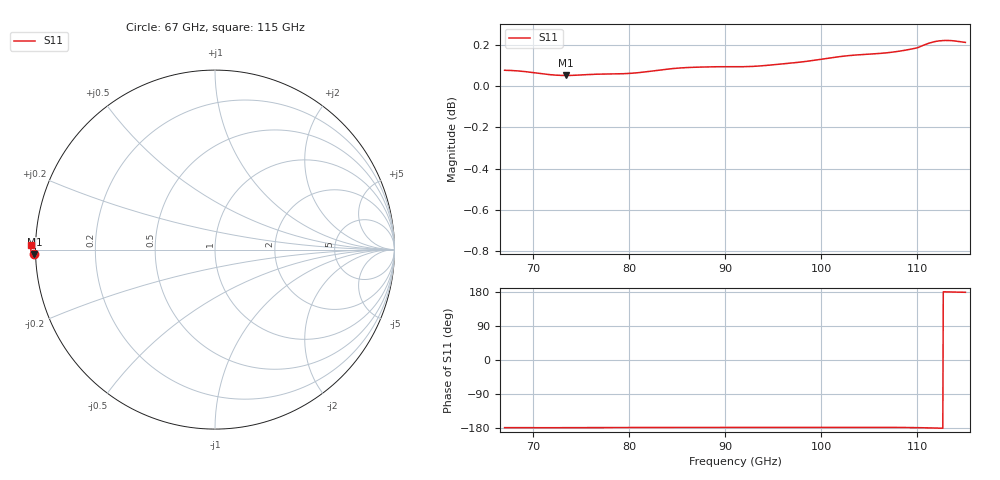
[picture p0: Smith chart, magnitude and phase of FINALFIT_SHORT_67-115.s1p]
! Generated by Phase I extraction
# Hz S RI R 50
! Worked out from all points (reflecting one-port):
!   1001 points, 67 GHz to 115 GHz, reference 50 ohm
!   lowest |S11| = 0.1 dB at 73.38 GHz (marker M1)
!   phase of S11 starts at -178 deg and turns -3 deg over the sweep
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6.7e10  -1.009 -0.0272
6.8536e10  -1.008 -0.0247
6.988e10  -1.007 -0.0236
7.1368e10  -1.006 -0.0234
7.3e10  -1.006 -0.0241
7.3384e10  -1.006 -0.0244
7.5784e10  -1.006 -0.0268
7.9e10  -1.007 -0.0312
8.1496e10  -1.007 -0.0339
8.5e10  -1.01 -0.0354
8.7784e10  -1.01 -0.0365
9.1e10  -1.01 -0.0373
9.3448e10  -1.011 -0.039
9.7e10  -1.012 -0.0414
1.00552e11  -1.015 -0.0433
1.03e11  -1.016 -0.0439
1.04872e11  -1.017 -0.0433
1.0636e11  -1.018 -0.0415
1.07704e11  -1.019 -0.038
1.09e11  -1.02 -0.0327
1.0972e11  -1.021 -0.0291
1.10008e11  -1.021 -0.0273
1.11256e11  -1.024 -0.0129
1.12312e11  -1.026 -0.0029
1.13512e11  -1.026 0.00807
1.1404e11  -1.026 0.0133
1.1476e11  -1.025 0.0214
1.15e11  -1.025 0.0241
